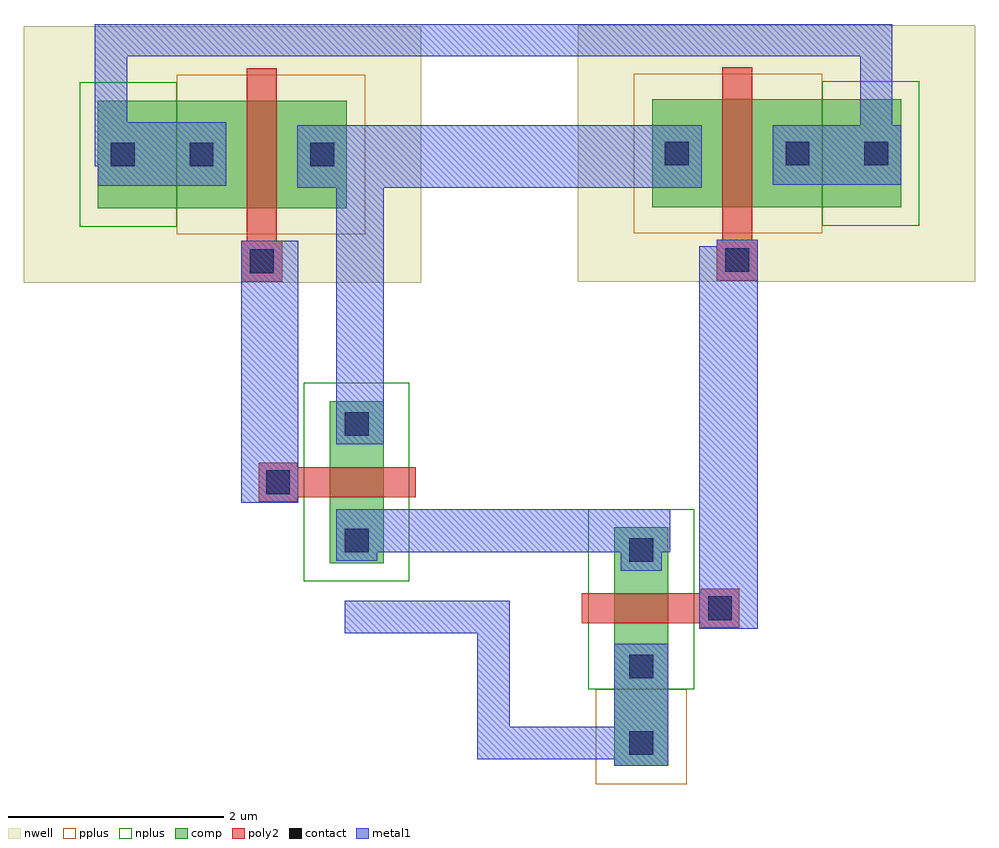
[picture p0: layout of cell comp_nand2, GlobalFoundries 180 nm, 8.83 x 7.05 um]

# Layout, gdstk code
import gdstk
lib = gdstk.Library(unit=1e-6, precision=1e-09)
def R(c, l, rs):  # rectangles x0, y0, x1, y1
    for r in rs: c.add(gdstk.rectangle(r[:2], r[2:], *l))
nwell = (21, 0)
comp = (22, 0)
poly2 = (30, 0)
pplus = (31, 0)
nplus = (32, 0)
contact = (33, 0)
metal1 = (34, 0)

gf180mcu_pfet_l_0_280_w_ = lib.new_cell('gf180mcu.pfet(L=0.280,W=1.000)')

gf180mcu_nfet_l_0_280_w_ = lib.new_cell('gf180mcu.nfet(L=0.280,W=1.000)')

comp_nand2 = lib.new_cell('comp_nand2')
R(comp_nand2, nwell, [(-4.16,1.01,-0.47,3.39), (0.98,1.02,4.67,3.4)])
R(comp_nand2, comp, [(1.32,-3.47,1.82,-2.76), (1.32,-2.76,1.82,-2.34), (1.32,-2.34,1.82,-1.68), (1.32,-1.68,1.82,-1.26), (-1.32,-1.59,-0.82,-1.17), (-1.32,-1.17,-0.82,-0.51), (-1.32,-0.51,-0.82,-0.09), (-3.47,1.7,-2.74,2.7), (-2.74,1.7,-2.28,2.7), (-2.28,1.7,-1.62,2.7), (-1.62,1.7,-1.16,2.7), (1.67,1.71,2.13,2.71), (2.13,1.71,2.79,2.71), (2.79,1.71,3.25,2.71), (3.25,1.71,3.98,2.71)])
R(comp_nand2, poly2, [(2.12,-2.19,2.48,-1.83), (1.02,-2.15,2.12,-1.87), (-1.98,-1.02,-1.62,-0.66), (-1.62,-0.98,-0.52,-0.7), (-2.14,1.02,-1.76,1.4), (2.27,1.03,2.65,1.41), (-2.09,1.4,-1.81,3), (2.32,1.41,2.6,3.01)])
R(comp_nand2, pplus, [(1.15,-3.64,1.99,-2.76), (-2.74,1.46,-0.99,2.94), (1.5,1.47,3.25,2.95)])
R(comp_nand2, nplus, [(1.08,-2.76,2.06,-1.09), (-1.56,-1.76,-0.58,0.08), (-3.64,1.53,-2.74,2.87), (3.25,1.54,4.15,2.88)])
R(comp_nand2, contact, [(1.46,-3.37,1.68,-3.15), (1.46,-2.66,1.68,-2.44), (2.19,-2.12,2.41,-1.9), (1.46,-1.58,1.68,-1.36), (-1.18,-1.49,-0.96,-1.27), (-1.91,-0.95,-1.69,-0.73), (-1.18,-0.41,-0.96,-0.19), (-2.06,1.1,-1.84,1.32), (2.35,1.11,2.57,1.33), (-3.35,2.09,-3.13,2.31), (-2.62,2.09,-2.4,2.31), (-1.5,2.09,-1.28,2.31), (1.79,2.1,2.01,2.32), (2.91,2.1,3.13,2.32), (3.64,2.1,3.86,2.32)])
R(comp_nand2, metal1, [(1.32,-3.47,1.82,-2.34), (1.38,-3.45,1.76,-3.07), (1.38,-2.74,1.76,-2.36), (2.11,-2.2,2.65,1.35), (2.11,-2.2,2.49,-1.82), (1.38,-1.66,1.76,-1.28), (-1.26,-1.57,-0.88,-1.19), (-1.26,-1.49,1.84,-1.09), (-2.14,-1.03,-1.61,1.4), (-1.99,-1.03,-1.61,-0.65), (-1.26,-0.49,-0.82,2.39), (-1.26,-0.49,-0.88,-0.11), (-2.14,1.02,-1.76,1.4), (2.27,1.03,2.65,1.41), (-1.62,1.89,2.13,2.47), (-3.47,1.91,-2.28,2.5), (2.79,1.92,3.98,2.47), (-3.43,2.01,-3.05,2.39), (-2.7,2.01,-2.32,2.39), (-1.58,2.01,-1.2,2.39), (1.71,2.02,2.09,2.4), (2.83,2.02,3.21,2.4), (3.56,2.02,3.94,2.4)])
comp_nand2.add(gdstk.FlexPath([(-3.35,2.09),(-3.35,3.26),(3.75,3.26),(3.75,2.1),(3.75,2.1)], 0.3, ends="flush", simple_path=True, layer=34, datatype=0))  # metal1
comp_nand2.add(gdstk.FlexPath([(-1.18,-2.09),(0.2,-2.09),(0.2,-3.26),(1.68,-3.26),(1.68,-3.26)], 0.3, ends="flush", simple_path=True, layer=34, datatype=0))  # metal1
comp_nand2.add(gdstk.Reference(gf180mcu_pfet_l_0_280_w_, (0,0)))
comp_nand2.add(gdstk.Reference(gf180mcu_nfet_l_0_280_w_, (0,0)))

lib.write_gds('comp_nand2.gds')
